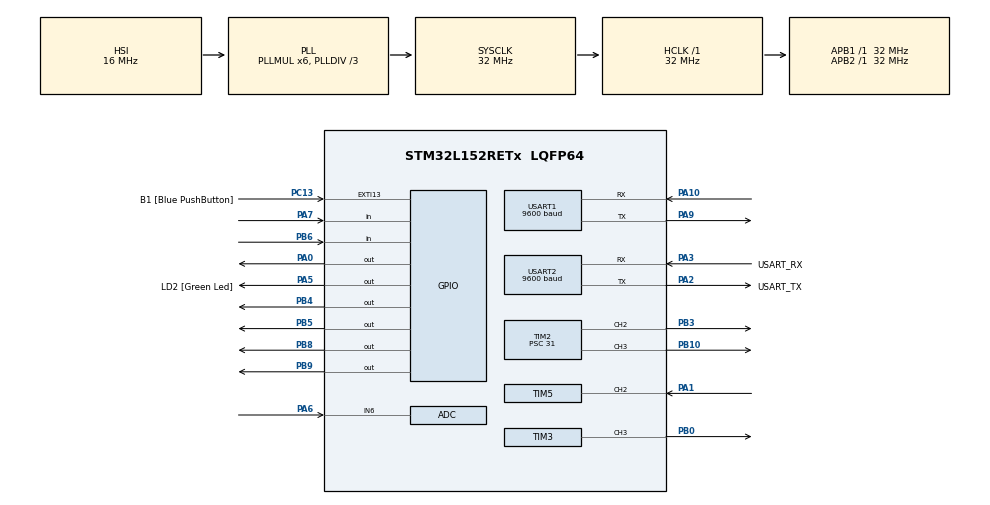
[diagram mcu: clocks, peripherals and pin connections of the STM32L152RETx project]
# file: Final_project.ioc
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ADC.Channel-0\#ChannelRegularConversion=ADC_CHANNEL_6
ADC.NbrOfConversionFlag=1
ADC.Rank-0\#ChannelRegularConversion=1
ADC.SamplingTime-0\#ChannelRegularConversion=ADC_SAMPLETIME_4CYCLES
Mcu.Family=STM32L1
Mcu.Name=STM32L152RETx
Mcu.Package=LQFP64
NVIC.EXTI15_10_IRQn=true\:0\:0\:false\:false\:true\:true\:true\:true
NVIC.PriorityGroup=NVIC_PRIORITYGROUP_0
NVIC.TIM2_IRQn=true\:0\:0\:false\:false\:true\:true\:true\:true
NVIC.TIM3_IRQn=true\:0\:0\:false\:false\:true\:true\:true\:true
NVIC.TIM4_IRQn=true\:0\:0\:false\:false\:true\:true\:true\:true
NVIC.TIM5_IRQn=true\:0\:0\:false\:false\:true\:true\:true\:true
NVIC.USART1_IRQn=true\:0\:0\:false\:false\:true\:true\:true\:true
PA0-WKUP1.Signal=GPIO_Output
PA1.Signal=S_TIM5_CH2
PA10.Mode=Asynchronous
PA10.Signal=USART1_RX
PA13.GPIO_Label=TMS
PA13.Mode=Serial_Wire
PA13.Signal=SYS_JTMS-SWDIO
PA14.GPIO_Label=TCK
PA14.Mode=Serial_Wire
PA14.Signal=SYS_JTCK-SWCLK
PA2.GPIO_Label=USART_TX
PA2.Mode=Asynchronous
PA2.Signal=USART2_TX
PA3.GPIO_Label=USART_RX
PA3.Mode=Asynchronous
PA3.Signal=USART2_RX
PA5.GPIO_Label=LD2 [Green Led]
PA5.Signal=GPIO_Output
PA6.Mode=IN6
PA6.Signal=ADC_IN6
PA7.Signal=GPIO_Input
PA9.Mode=Asynchronous
PA9.Signal=USART1_TX
PB0.Signal=S_TIM3_CH3
PB10.Signal=S_TIM2_CH3
PB3.Signal=S_TIM2_CH2
PB4.Signal=GPIO_Output
PB5.Signal=GPIO_Output
PB6.Signal=GPIO_Input
PB8.Signal=GPIO_Output
PB9.Signal=GPIO_Output
PC13-WKUP2.GPIO_Label=B1 [Blue PushButton]
PC13-WKUP2.Signal=GPXTI13
PC14-OSC32_IN.Mode=LSE-External-Oscillator
PC14-OSC32_IN.Signal=RCC_OSC32_IN
PC15-OSC32_OUT.Mode=LSE-External-Oscillator
PC15-OSC32_OUT.Signal=RCC_OSC32_OUT
PH0-OSC_IN.Mode=HSE-External-Clock-Source
PH0-OSC_IN.Signal=RCC_OSC_IN
PH1-OSC_OUT.Signal=RCC_OSC_OUT
ProjectManager.HeapSize=0x200
ProjectManager.StackSize=0x400
ProjectManager.TargetToolchain=STM32CubeIDE
RCC.48MHZClocksFreq_Value=48000000
RCC.AHBFreq_Value=32000000
RCC.APB1Freq_Value=32000000
RCC.APB1TimFreq_Value=32000000
RCC.APB2Freq_Value=32000000
RCC.APB2TimFreq_Value=32000000
RCC.HCLKFreq_Value=32000000
RCC.HSE_VALUE=8000000
RCC.HSI_VALUE=16000000
RCC.MSI_VALUE=2097000
RCC.PLLDIV=RCC_PLL_DIV3
RCC.PLLMUL=RCC_PLL_MUL6
RCC.RTCClockSelectionVirtual=RCC_RTCCLKSOURCE_LSE
RCC.SYSCLKFreq_VALUE=32000000
RCC.SYSCLKSource=RCC_SYSCLKSOURCE_PLLCLK
RCC.USBOutput=48000000
RCC.VCOOutputFreq_Value=96000000
SH.S_TIM2_CH2.0=TIM2_CH2,PWM Generation2 CH2
SH.S_TIM2_CH3.0=TIM2_CH3,PWM Generation3 CH3
SH.S_TIM3_CH3.0=TIM3_CH3,Output Compare3 CH3
SH.S_TIM5_CH2.0=TIM5_CH2,Input_Capture2_from_TI2
TIM2.Channel-PWM\ Generation2\ CH2=TIM_CHANNEL_2
TIM2.Channel-PWM\ Generation3\ CH3=TIM_CHANNEL_3
TIM2.Period=249
TIM2.Prescaler=31
TIM3.Channel-Output\ Compare3\ CH3=TIM_CHANNEL_3
TIM3.OCMode_3=TIM_OCMODE_TOGGLE
TIM3.Prescaler=31999
TIM3.Pulse-Output\ Compare3\ CH3=0
TIM4.Channel-Output\ Compare1\ No\ Output=TIM_CHANNEL_1
TIM4.Period=99
TIM4.Prescaler=31999
TIM5.Channel-Input_Capture2_from_TI2=TIM_CHANNEL_2
TIM5.Channel-Output\ Compare1\ No\ Output=TIM_CHANNEL_1
TIM5.ICPolarity_CH2=TIM_INPUTCHANNELPOLARITY_BOTHEDGE
TIM5.Period=65535
TIM5.Prescaler=31
TIM5.Pulse-Output\ Compare1\ No\ Output=11
USART1.BaudRate=9600
USART1.VirtualMode=VM_ASYNC
USART2.BaudRate=9600
USART2.VirtualMode=VM_ASYNC
VP_TIM2_VS_ClockSourceINT.Mode=Internal
VP_TIM3_VS_ClockSourceINT.Mode=Internal
VP_TIM4_VS_ClockSourceINT.Mode=Internal
VP_TIM4_VS_no_output1.Mode=Output Compare1 No Output
VP_TIM5_VS_ClockSourceINT.Mode=Internal
VP_TIM5_VS_no_output1.Mode=Output Compare1 No Output
board=NUCLEO-L152RE

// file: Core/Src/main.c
/* USER CODE BEGIN Header */
/**
  ******************************************************************************
  * @file           : main.c
  * @brief          : Main program body
  ******************************************************************************
  * @attention
  *
  * Copyright (c) 2025 STMicroelectronics.
  * All rights reserved.
  *
  * This software is licensed under terms that can be found in the LICENSE file
  * in the root directory of this software component.
  * If no LICENSE file comes with this software, it is provided AS-IS.
  *
  ******************************************************************************
  */
/* USER CODE END Header */
#include "main.h"
#include <stdio.h>

ADC_HandleTypeDef hadc;

TIM_HandleTypeDef htim2;
TIM_HandleTypeDef htim3;
TIM_HandleTypeDef htim4;
TIM_HandleTypeDef htim5;

UART_HandleTypeDef huart1;
UART_HandleTypeDef huart2;

void SystemClock_Config(void);
static void MX_GPIO_Init(void);
static void MX_USART2_UART_Init(void);
static void MX_TIM2_Init(void);
static void MX_TIM3_Init(void);
static void MX_TIM5_Init(void);
static void MX_TIM4_Init(void);
static void MX_ADC_Init(void);
static void MX_USART1_UART_Init(void);

/* USER CODE BEGIN 0 */
int distance = 0;
int time = 0;
int t1 = 0;
int t2 = 0;
int i = 0;
int a = 0;
int CCR = 0;
int adc_new_value = 0;
int ready = 0;
char buffer[50];

void Forward(){
	  __HAL_TIM_SET_COMPARE(&htim2, TIM_CHANNEL_2, 150);  // ENA
	  __HAL_TIM_SET_COMPARE(&htim2, TIM_CHANNEL_3, 150);  // ENB

	  HAL_GPIO_WritePin (GPIOB, GPIO_PIN_4, 1); // IN1
	  HAL_GPIO_WritePin (GPIOB, GPIO_PIN_5, 0);  // IN2
	  HAL_GPIO_WritePin (GPIOB, GPIO_PIN_9, 1);  // IN3
	  HAL_GPIO_WritePin (GPIOB, GPIO_PIN_8, 0);  // IN4
}

void Backwards(){
	  __HAL_TIM_SET_COMPARE(&htim2, TIM_CHANNEL_2, 180);  // ENA
	  __HAL_TIM_SET_COMPARE(&htim2, TIM_CHANNEL_3, 180);  // ENB

	  HAL_GPIO_WritePin (GPIOB, GPIO_PIN_4, 0); // IN1
	  HAL_GPIO_WritePin (GPIOB, GPIO_PIN_5, 1);  // IN2
	  HAL_GPIO_WritePin (GPIOB, GPIO_PIN_9, 0);  // IN3
	  HAL_GPIO_WritePin (GPIOB, GPIO_PIN_8, 1);  // IN4
}

void Left(){
	  __HAL_TIM_SET_COMPARE(&htim2, TIM_CHANNEL_2, 250);  // ENA
	  __HAL_TIM_SET_COMPARE(&htim2, TIM_CHANNEL_3, 250);  // ENB

	  HAL_GPIO_WritePin (GPIOB, GPIO_PIN_4, 1); // IN1
	  HAL_GPIO_WritePin (GPIOB, GPIO_PIN_5, 0);  // IN2
	  HAL_GPIO_WritePin (GPIOB, GPIO_PIN_9, 0);  // IN3
	  HAL_GPIO_WritePin (GPIOB, GPIO_PIN_8, 1);  // IN4
}

void Right(){
	  __HAL_TIM_SET_COMPARE(&htim2, TIM_CHANNEL_2, 250);  // ENA
	  __HAL_TIM_SET_COMPARE(&htim2, TIM_CHANNEL_3, 250);  // ENB

	  HAL_GPIO_WritePin (GPIOB, GPIO_PIN_4, 0); // IN1
	  HAL_GPIO_WritePin (GPIOB, GPIO_PIN_5, 1);  // IN2
	  HAL_GPIO_WritePin (GPIOB, GPIO_PIN_9, 1);  // IN3
	  HAL_GPIO_WritePin (GPIOB, GPIO_PIN_8, 0);  // IN4
}

void Stop(){
	  __HAL_TIM_SET_COMPARE(&htim2, TIM_CHANNEL_2, 0);  // ENA
	  __HAL_TIM_SET_COMPARE(&htim2, TIM_CHANNEL_3, 0);  // ENB

	  HAL_GPIO_WritePin (GPIOB, GPIO_PIN_4, 0); // IN1
	  HAL_GPIO_WritePin (GPIOB, GPIO_PIN_5, 0);  // IN2
	  HAL_GPIO_WritePin (GPIOB, GPIO_PIN_9, 0);  // IN3
	  HAL_GPIO_WritePin (GPIOB, GPIO_PIN_8, 0);  // IN4
}

/* USER CODE END 0 */

int main(void)
{

  /* MCU Configuration--------------------------------------------------------*/

  /* Reset of all peripherals, Initializes the Flash interface and the Systick. */
  HAL_Init();

  /* Configure the system clock */
  SystemClock_Config();

  /* Initialize all configured peripherals */
  MX_GPIO_Init();
  MX_USART2_UART_Init();
  MX_TIM2_Init();
  MX_TIM3_Init();
  MX_TIM5_Init();
  MX_TIM4_Init();
  MX_ADC_Init();
  MX_USART1_UART_Init();
  /* USER CODE BEGIN 2 */
  HAL_TIM_PWM_Start(&htim2, TIM_CHANNEL_2);
  HAL_TIM_PWM_Start(&htim2, TIM_CHANNEL_3);
  HAL_TIM_Base_Start_IT(&htim4);
  HAL_TIM_IC_Start_IT(&htim5, TIM_CHANNEL_2);
  /* USER CODE END 2 */

  /* Infinite loop */
  while (1){

    /* USER CODE BEGIN 3 */
	if (ready == 1){
		HAL_ADC_Start_IT(&hadc);
		if (HAL_ADC_PollForConversion(&hadc, 10) == HAL_OK){
			adc_new_value = HAL_ADC_GetValue(&hadc);
			if (adc_new_value >= 2482){		//12-bit value for 2V
				if (distance < 15){
					int message = sprintf(buffer, "Obstacle detected!!!\r\n");
					HAL_UART_Transmit(&huart1, (uint8_t*)buffer, message, 100);
					CCR = 250;
					__HAL_TIM_SET_COMPARE(&htim3, TIM_CHANNEL_3, CCR);
					__HAL_TIM_SET_COUNTER(&htim3, 0);
					HAL_TIM_OC_Start_IT(&htim3, TIM_CHANNEL_3);
					HAL_GPIO_WritePin (GPIOA, GPIO_PIN_5, 1);
					while (distance < 15 && adc_new_value >= 2482){
						Stop();
						HAL_ADC_Start_IT(&hadc);
						if (HAL_ADC_PollForConversion(&hadc, 10) == HAL_OK) adc_new_value = HAL_ADC_GetValue(&hadc);
					}
				}
				HAL_GPIO_WritePin (GPIOA, GPIO_PIN_5, 0);
				HAL_TIM_OC_Stop_IT(&htim3, TIM_CHANNEL_3);
				if (HAL_GPIO_ReadPin(GPIOA, GPIO_PIN_7) == GPIO_PIN_SET && HAL_GPIO_ReadPin(GPIOB, GPIO_PIN_6) == GPIO_PIN_SET) Forward();
				else if (HAL_GPIO_ReadPin(GPIOA, GPIO_PIN_7) == GPIO_PIN_RESET && HAL_GPIO_ReadPin(GPIOB, GPIO_PIN_6) == GPIO_PIN_SET) Right();
				else if (HAL_GPIO_ReadPin(GPIOA, GPIO_PIN_7) == GPIO_PIN_SET && HAL_GPIO_ReadPin(GPIOB, GPIO_PIN_6) == GPIO_PIN_RESET) Left();
				else Stop();
			}
			else{
				HAL_GPIO_WritePin (GPIOA, GPIO_PIN_5, 0);
				HAL_TIM_OC_Stop_IT(&htim3, TIM_CHANNEL_3);
				Stop();
			}
		}
	}
  }

  /* USER CODE END 3 */
}

void SystemClock_Config(void)
{
  RCC_OscInitTypeDef RCC_OscInitStruct = {0};
  RCC_ClkInitTypeDef RCC_ClkInitStruct = {0};

  /** Configure the main internal regulator output voltage
  */
  __HAL_PWR_VOLTAGESCALING_CONFIG(PWR_REGULATOR_VOLTAGE_SCALE1);

  /** Initializes the RCC Oscillators according to the specified parameters
  * in the RCC_OscInitTypeDef structure.
  */
  RCC_OscInitStruct.OscillatorType = RCC_OSCILLATORTYPE_HSI;
  RCC_OscInitStruct.HSIState = RCC_HSI_ON;
  RCC_OscInitStruct.HSICalibrationValue = RCC_HSICALIBRATION_DEFAULT;
  RCC_OscInitStruct.PLL.PLLState = RCC_PLL_ON;
  RCC_OscInitStruct.PLL.PLLSource = RCC_PLLSOURCE_HSI;
  RCC_OscInitStruct.PLL.PLLMUL = RCC_PLL_MUL6;
  RCC_OscInitStruct.PLL.PLLDIV = RCC_PLL_DIV3;
  if (HAL_RCC_OscConfig(&RCC_OscInitStruct) != HAL_OK)
  {
    Error_Handler();
  }

  /** Initializes the CPU, AHB and APB buses clocks
  */
  RCC_ClkInitStruct.ClockType = RCC_CLOCKTYPE_HCLK|RCC_CLOCKTYPE_SYSCLK
                              |RCC_CLOCKTYPE_PCLK1|RCC_CLOCKTYPE_PCLK2;
  RCC_ClkInitStruct.SYSCLKSource = RCC_SYSCLKSOURCE_PLLCLK;
  RCC_ClkInitStruct.AHBCLKDivider = RCC_SYSCLK_DIV1;
  RCC_ClkInitStruct.APB1CLKDivider = RCC_HCLK_DIV1;
  RCC_ClkInitStruct.APB2CLKDivider = RCC_HCLK_DIV1;

  if (HAL_RCC_ClockConfig(&RCC_ClkInitStruct, FLASH_LATENCY_1) != HAL_OK)
  {
    Error_Handler();
  }
}

static void MX_ADC_Init(void)
{

  ADC_ChannelConfTypeDef sConfig = {0};

  /** Configure the global features of the ADC (Clock, Resolution, Data Alignment and number of conversion)
  */
  hadc.Instance = ADC1;
  hadc.Init.ClockPrescaler = ADC_CLOCK_ASYNC_DIV1;
  hadc.Init.Resolution = ADC_RESOLUTION_12B;
  hadc.Init.DataAlign = ADC_DATAALIGN_RIGHT;
  hadc.Init.ScanConvMode = ADC_SCAN_DISABLE;
  hadc.Init.EOCSelection = ADC_EOC_SEQ_CONV;
  hadc.Init.LowPowerAutoWait = ADC_AUTOWAIT_DISABLE;
  hadc.Init.LowPowerAutoPowerOff = ADC_AUTOPOWEROFF_DISABLE;
  hadc.Init.ChannelsBank = ADC_CHANNELS_BANK_A;
  hadc.Init.ContinuousConvMode = DISABLE;
  hadc.Init.NbrOfConversion = 1;
  hadc.Init.DiscontinuousConvMode = DISABLE;
  hadc.Init.ExternalTrigConv = ADC_SOFTWARE_START;
  hadc.Init.ExternalTrigConvEdge = ADC_EXTERNALTRIGCONVEDGE_NONE;
  hadc.Init.DMAContinuousRequests = DISABLE;
  if (HAL_ADC_Init(&hadc) != HAL_OK)
  {
    Error_Handler();
  }

  /** Configure for the selected ADC regular channel its corresponding rank in the sequencer and its sample time.
  */
  sConfig.Channel = ADC_CHANNEL_6;
  sConfig.Rank = ADC_REGULAR_RANK_1;
  sConfig.SamplingTime = ADC_SAMPLETIME_4CYCLES;
  if (HAL_ADC_ConfigChannel(&hadc, &sConfig) != HAL_OK)
  {
    Error_Handler();
  }

}

static void MX_TIM2_Init(void)
{

  TIM_ClockConfigTypeDef sClockSourceConfig = {0};
  TIM_MasterConfigTypeDef sMasterConfig = {0};
  TIM_OC_InitTypeDef sConfigOC = {0};

  htim2.Instance = TIM2;
  htim2.Init.Prescaler = 31;
  htim2.Init.CounterMode = TIM_COUNTERMODE_UP;
  htim2.Init.Period = 249;
  htim2.Init.ClockDivision = TIM_CLOCKDIVISION_DIV1;
  htim2.Init.AutoReloadPreload = TIM_AUTORELOAD_PRELOAD_DISABLE;
  if (HAL_TIM_Base_Init(&htim2) != HAL_OK)
  {
    Error_Handler();
  }
  sClockSourceConfig.ClockSource = TIM_CLOCKSOURCE_INTERNAL;
  if (HAL_TIM_ConfigClockSource(&htim2, &sClockSourceConfig) != HAL_OK)
  {
    Error_Handler();
  }
  if (HAL_TIM_PWM_Init(&htim2) != HAL_OK)
  {
    Error_Handler();
  }
  sMasterConfig.MasterOutputTrigger = TIM_TRGO_RESET;
  sMasterConfig.MasterSlaveMode = TIM_MASTERSLAVEMODE_DISABLE;
  if (HAL_TIMEx_MasterConfigSynchronization(&htim2, &sMasterConfig) != HAL_OK)
  {
    Error_Handler();
  }
  sConfigOC.OCMode = TIM_OCMODE_PWM1;
  sConfigOC.Pulse = 0;
  sConfigOC.OCPolarity = TIM_OCPOLARITY_HIGH;
  sConfigOC.OCFastMode = TIM_OCFAST_DISABLE;
  if (HAL_TIM_PWM_ConfigChannel(&htim2, &sConfigOC, TIM_CHANNEL_2) != HAL_OK)
  {
    Error_Handler();
  }
  if (HAL_TIM_PWM_ConfigChannel(&htim2, &sConfigOC, TIM_CHANNEL_3) != HAL_OK)
  {
    Error_Handler();
  }
  HAL_TIM_MspPostInit(&htim2);

}

static void MX_TIM3_Init(void)
{

  TIM_ClockConfigTypeDef sClockSourceConfig = {0};
  TIM_MasterConfigTypeDef sMasterConfig = {0};
  TIM_OC_InitTypeDef sConfigOC = {0};

  htim3.Instance = TIM3;
  htim3.Init.Prescaler = 31999;
  htim3.Init.CounterMode = TIM_COUNTERMODE_UP;
  htim3.Init.Period = 65535;
  htim3.Init.ClockDivision = TIM_CLOCKDIVISION_DIV1;
  htim3.Init.AutoReloadPreload = TIM_AUTORELOAD_PRELOAD_DISABLE;
  if (HAL_TIM_Base_Init(&htim3) != HAL_OK)
  {
    Error_Handler();
  }
  sClockSourceConfig.ClockSource = TIM_CLOCKSOURCE_INTERNAL;
  if (HAL_TIM_ConfigClockSource(&htim3, &sClockSourceConfig) != HAL_OK)
  {
    Error_Handler();
  }
  if (HAL_TIM_OC_Init(&htim3) != HAL_OK)
  {
    Error_Handler();
  }
  sMasterConfig.MasterOutputTrigger = TIM_TRGO_RESET;
  sMasterConfig.MasterSlaveMode = TIM_MASTERSLAVEMODE_DISABLE;
  if (HAL_TIMEx_MasterConfigSynchronization(&htim3, &sMasterConfig) != HAL_OK)
  {
    Error_Handler();
  }
  sConfigOC.OCMode = TIM_OCMODE_TOGGLE;
  sConfigOC.Pulse = 0;
  sConfigOC.OCPolarity = TIM_OCPOLARITY_HIGH;
  sConfigOC.OCFastMode = TIM_OCFAST_DISABLE;
  if (HAL_TIM_OC_ConfigChannel(&htim3, &sConfigOC, TIM_CHANNEL_3) != HAL_OK)
  {
    Error_Handler();
  }
  HAL_TIM_MspPostInit(&htim3);

}

static void MX_TIM4_Init(void)
{

  TIM_ClockConfigTypeDef sClockSourceConfig = {0};
  TIM_MasterConfigTypeDef sMasterConfig = {0};
  TIM_OC_InitTypeDef sConfigOC = {0};

  htim4.Instance = TIM4;
  htim4.Init.Prescaler = 31999;
  htim4.Init.CounterMode = TIM_COUNTERMODE_UP;
  htim4.Init.Period = 99;
  htim4.Init.ClockDivision = TIM_CLOCKDIVISION_DIV1;
  htim4.Init.AutoReloadPreload = TIM_AUTORELOAD_PRELOAD_DISABLE;
  if (HAL_TIM_Base_Init(&htim4) != HAL_OK)
  {
    Error_Handler();
  }
  sClockSourceConfig.ClockSource = TIM_CLOCKSOURCE_INTERNAL;
  if (HAL_TIM_ConfigClockSource(&htim4, &sClockSourceConfig) != HAL_OK)
  {
    Error_Handler();
  }
  if (HAL_TIM_OC_Init(&htim4) != HAL_OK)
  {
    Error_Handler();
  }
  sMasterConfig.MasterOutputTrigger = TIM_TRGO_RESET;
  sMasterConfig.MasterSlaveMode = TIM_MASTERSLAVEMODE_DISABLE;
  if (HAL_TIMEx_MasterConfigSynchronization(&htim4, &sMasterConfig) != HAL_OK)
  {
    Error_Handler();
  }
  sConfigOC.OCMode = TIM_OCMODE_TIMING;
  sConfigOC.Pulse = 0;
  sConfigOC.OCPolarity = TIM_OCPOLARITY_HIGH;
  sConfigOC.OCFastMode = TIM_OCFAST_DISABLE;
  if (HAL_TIM_OC_ConfigChannel(&htim4, &sConfigOC, TIM_CHANNEL_1) != HAL_OK)
  {
    Error_Handler();
  }

}

static void MX_TIM5_Init(void)
{

  TIM_ClockConfigTypeDef sClockSourceConfig = {0};
  TIM_MasterConfigTypeDef sMasterConfig = {0};
  TIM_OC_InitTypeDef sConfigOC = {0};
  TIM_IC_InitTypeDef sConfigIC = {0};

  htim5.Instance = TIM5;
  htim5.Init.Prescaler = 31;
  htim5.Init.CounterMode = TIM_COUNTERMODE_UP;
  htim5.Init.Period = 65535;
  htim5.Init.ClockDivision = TIM_CLOCKDIVISION_DIV1;
  htim5.Init.AutoReloadPreload = TIM_AUTORELOAD_PRELOAD_DISABLE;
  if (HAL_TIM_Base_Init(&htim5) != HAL_OK)
  {
    Error_Handler();
  }
  sClockSourceConfig.ClockSource = TIM_CLOCKSOURCE_INTERNAL;
  if (HAL_TIM_ConfigClockSource(&htim5, &sClockSourceConfig) != HAL_OK)
  {
    Error_Handler();
  }
  if (HAL_TIM_OC_Init(&htim5) != HAL_OK)
  {
    Error_Handler();
  }
  if (HAL_TIM_IC_Init(&htim5) != HAL_OK)
  {
    Error_Handler();
  }
  sMasterConfig.MasterOutputTrigger = TIM_TRGO_RESET;
  sMasterConfig.MasterSlaveMode = TIM_MASTERSLAVEMODE_DISABLE;
  if (HAL_TIMEx_MasterConfigSynchronization(&htim5, &sMasterConfig) != HAL_OK)
  {
    Error_Handler();
  }
  sConfigOC.OCMode = TIM_OCMODE_TIMING;
  sConfigOC.Pulse = 11;
  sConfigOC.OCPolarity = TIM_OCPOLARITY_HIGH;
  sConfigOC.OCFastMode = TIM_OCFAST_DISABLE;
  if (HAL_TIM_OC_ConfigChannel(&htim5, &sConfigOC, TIM_CHANNEL_1) != HAL_OK)
  {
    Error_Handler();
  }
  sConfigIC.ICPolarity = TIM_INPUTCHANNELPOLARITY_BOTHEDGE;
  sConfigIC.ICSelection = TIM_ICSELECTION_DIRECTTI;
  sConfigIC.ICPrescaler = TIM_ICPSC_DIV1;
  sConfigIC.ICFilter = 0;
  if (HAL_TIM_IC_ConfigChannel(&htim5, &sConfigIC, TIM_CHANNEL_2) != HAL_OK)
  {
    Error_Handler();
  }

}

static void MX_USART1_UART_Init(void)
{

  huart1.Instance = USART1;
  huart1.Init.BaudRate = 9600;
  huart1.Init.WordLength = UART_WORDLENGTH_8B;
  huart1.Init.StopBits = UART_STOPBITS_1;
  huart1.Init.Parity = UART_PARITY_NONE;
  huart1.Init.Mode = UART_MODE_TX_RX;
  huart1.Init.HwFlowCtl = UART_HWCONTROL_NONE;
  huart1.Init.OverSampling = UART_OVERSAMPLING_16;
  if (HAL_UART_Init(&huart1) != HAL_OK)
  {
    Error_Handler();
  }

}

static void MX_USART2_UART_Init(void)
{

  huart2.Instance = USART2;
  huart2.Init.BaudRate = 9600;
  huart2.Init.WordLength = UART_WORDLENGTH_8B;
  huart2.Init.StopBits = UART_STOPBITS_1;
  huart2.Init.Parity = UART_PARITY_NONE;
  huart2.Init.Mode = UART_MODE_TX_RX;
  huart2.Init.HwFlowCtl = UART_HWCONTROL_NONE;
  huart2.Init.OverSampling = UART_OVERSAMPLING_16;
  if (HAL_UART_Init(&huart2) != HAL_OK)
  {
    Error_Handler();
  }

}

static void MX_GPIO_Init(void)
{
  GPIO_InitTypeDef GPIO_InitStruct = {0};

  /* GPIO Ports Clock Enable */
  __HAL_RCC_GPIOC_CLK_ENABLE();
  __HAL_RCC_GPIOH_CLK_ENABLE();
  __HAL_RCC_GPIOA_CLK_ENABLE();
  __HAL_RCC_GPIOB_CLK_ENABLE();

  /*Configure GPIO pin Output Level */
  HAL_GPIO_WritePin(GPIOA, GPIO_PIN_0|LD2_Pin, GPIO_PIN_RESET);

  /*Configure GPIO pin Output Level */
  HAL_GPIO_WritePin(GPIOB, GPIO_PIN_4|GPIO_PIN_5|GPIO_PIN_8|GPIO_PIN_9, GPIO_PIN_RESET);

  /*Configure GPIO pin : B1_Pin */
  GPIO_InitStruct.Pin = B1_Pin;
  GPIO_InitStruct.Mode = GPIO_MODE_IT_RISING;
  GPIO_InitStruct.Pull = GPIO_NOPULL;
  HAL_GPIO_Init(B1_GPIO_Port, &GPIO_InitStruct);

  /*Configure GPIO pins : PA0 LD2_Pin */
  GPIO_InitStruct.Pin = GPIO_PIN_0|LD2_Pin;
  GPIO_InitStruct.Mode = GPIO_MODE_OUTPUT_PP;
  GPIO_InitStruct.Pull = GPIO_NOPULL;
  GPIO_InitStruct.Speed = GPIO_SPEED_FREQ_LOW;
  HAL_GPIO_Init(GPIOA, &GPIO_InitStruct);

  /*Configure GPIO pin : PA7 */
  GPIO_InitStruct.Pin = GPIO_PIN_7;
  GPIO_InitStruct.Mode = GPIO_MODE_INPUT;
  GPIO_InitStruct.Pull = GPIO_NOPULL;
  HAL_GPIO_Init(GPIOA, &GPIO_InitStruct);

  /*Configure GPIO pins : PB4 PB5 PB8 PB9 */
  GPIO_InitStruct.Pin = GPIO_PIN_4|GPIO_PIN_5|GPIO_PIN_8|GPIO_PIN_9;
  GPIO_InitStruct.Mode = GPIO_MODE_OUTPUT_PP;
  GPIO_InitStruct.Pull = GPIO_NOPULL;
  GPIO_InitStruct.Speed = GPIO_SPEED_FREQ_LOW;
  HAL_GPIO_Init(GPIOB, &GPIO_InitStruct);

  /*Configure GPIO pin : PB6 */
  GPIO_InitStruct.Pin = GPIO_PIN_6;
  GPIO_InitStruct.Mode = GPIO_MODE_INPUT;
  GPIO_InitStruct.Pull = GPIO_NOPULL;
  HAL_GPIO_Init(GPIOB, &GPIO_InitStruct);

  /* EXTI interrupt init*/
  HAL_NVIC_SetPriority(EXTI15_10_IRQn, 0, 0);
  HAL_NVIC_EnableIRQ(EXTI15_10_IRQn);

}

/* USER CODE BEGIN 4 */
void HAL_TIM_OC_DelayElapsedCallback(TIM_HandleTypeDef * htim){
	if(htim->Instance==TIM3) {
		TIM3->CCR3+=CCR;
	}
	else if(htim->Instance==TIM5){
		HAL_GPIO_TogglePin(GPIOA, GPIO_PIN_0);
		HAL_TIM_OC_Stop_IT(&htim5, TIM_CHANNEL_1);
	}
}

void HAL_TIM_IC_CaptureCallback(TIM_HandleTypeDef *htim){
	if(htim->Instance==TIM5){
		i++;
		if(i==1){
			t1 = __HAL_TIM_GET_COMPARE (&htim5, TIM_CHANNEL_2); //read CCR2
		}
		else{
			i = 0;
			t2 = __HAL_TIM_GET_COMPARE (&htim5, TIM_CHANNEL_2);
			if(t1 > t2){
				time = 65536 - t1 + t2; //overflow
			}
			else{
				time = t2 - t1; //no overflow
			}
		distance = time/58;
		}
	}
}
void HAL_TIM_PeriodElapsedCallback(TIM_HandleTypeDef * htim){
	if(htim->Instance==TIM4){
		HAL_TIM_OC_Start_IT(&htim5, TIM_CHANNEL_1);;
	}
}
void HAL_GPIO_EXTI_Callback(uint16_t GPIO_Pin){
	if (GPIO_Pin == B1_Pin) ready = 1;
}
/* USER CODE END 4 */

void Error_Handler(void)
{
  __disable_irq();
  while (1)
  {
  }
}
